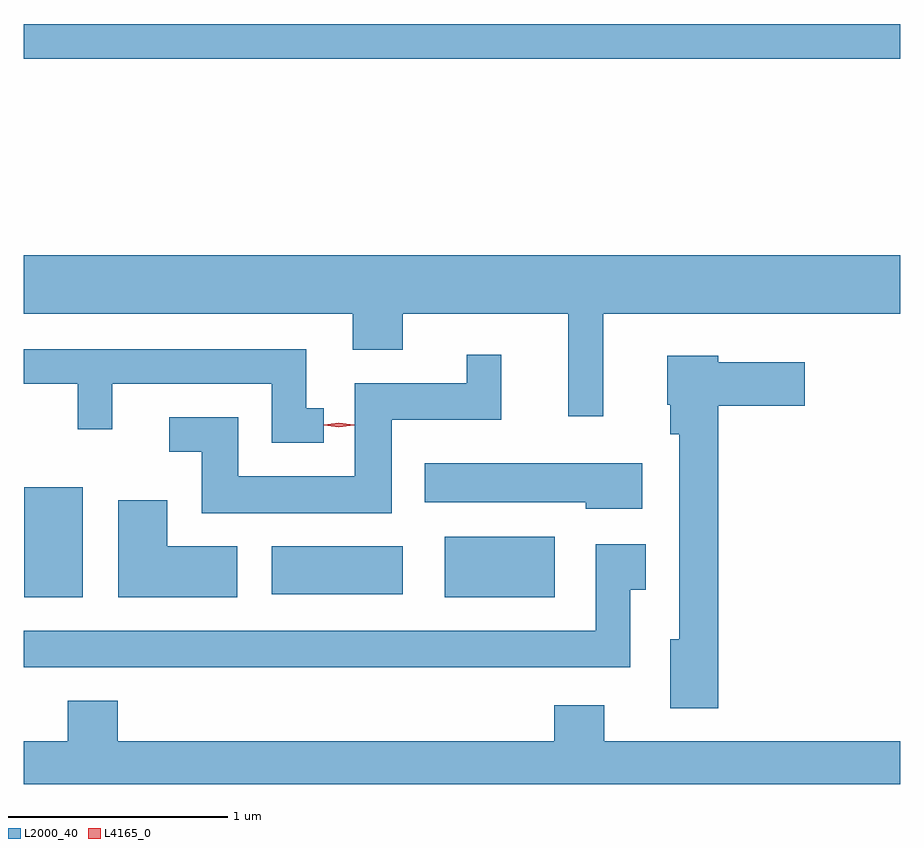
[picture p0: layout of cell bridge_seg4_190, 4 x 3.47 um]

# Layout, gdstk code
import gdstk
lib = gdstk.Library(unit=1e-6, precision=1e-09)
def R(c, l, rs):  # rectangles x0, y0, x1, y1
    for r in rs: c.add(gdstk.rectangle(r[:2], r[2:], *l))
def P(c, l, *ps):  # polygons
    for p in ps: c.add(gdstk.Polygon(p, *l))
L2000_40 = (2000, 40)
L4165_0 = (4165, 0)

bridge_seg4_190 = lib.new_cell('bridge_seg4_190')
R(bridge_seg4_190, L2000_40, [(970.091,1264.581,970.359,1265.084), (972.011,1264.581,972.514,1264.859), (971.221,1264.596,971.819,1264.814), (970.09,1267.041,974.09,1267.199)])
P(bridge_seg4_190, L2000_40, [(972.734,1265.876),(974.09,1265.876),(974.09,1266.144),(970.09,1266.144),(970.09,1265.876),(971.591,1265.876),(971.591,1265.711),(971.819,1265.711),(971.819,1265.876),(972.576,1265.876),(972.576,1265.408),(972.734,1265.408)],
  [(971.458,1265.444),(971.379,1265.444),(971.379,1265.714),(970.09,1265.714),(970.09,1265.556),(970.336,1265.556),(970.336,1265.348),(970.494,1265.348),(970.494,1265.556),(971.221,1265.556),(971.221,1265.286),(971.458,1265.286)],
  [(971.769,1265.391),(972.269,1265.391),(972.269,1265.688),(972.111,1265.688),(972.111,1265.559),(971.601,1265.559),(971.601,1265.134),(971.069,1265.134),(971.069,1265.404),(970.753,1265.404),(970.753,1265.246),(970.901,1265.246),(970.901,1264.966),(971.769,1264.966)],
  [(973.259,1265.456),(973.654,1265.456),(973.654,1265.654),(973.259,1265.654),(973.259,1265.684),(973.026,1265.684),(973.026,1265.46),(973.041,1265.46),(973.041,1265.326),(973.081,1265.326),(973.081,1264.389),(973.041,1264.389),(973.041,1264.076),(973.259,1264.076)],
  [(972.914,1265.194),(971.921,1265.194),(971.921,1265.016),(972.656,1265.016),(972.656,1264.986),(972.914,1264.986)],
  [(971.064,1264.814),(970.744,1264.814),(970.744,1265.024),(970.521,1265.024),(970.521,1264.581),(971.064,1264.581)],
  [(972.859,1264.616),(972.929,1264.616),(972.929,1264.824),(972.701,1264.824),(972.701,1264.429),(970.09,1264.429),(970.09,1264.261),(972.859,1264.261)],
  [(974.09,1263.924),(972.739,1263.924),(972.739,1264.089),(972.511,1264.089),(972.511,1263.924),(970.519,1263.924),(970.519,1264.109),(970.291,1264.109),(970.291,1263.924),(970.09,1263.924),(970.09,1263.729),(974.09,1263.729)])
P(bridge_seg4_190, L4165_0, [(971.528,1265.358),(971.459,1265.368),(971.459,1265.368),(971.459,1265.369),(971.528,1265.378),(971.598,1265.369),(971.598,1265.368),(971.598,1265.368)])

lib.write_gds('bridge_seg4_190.gds')
